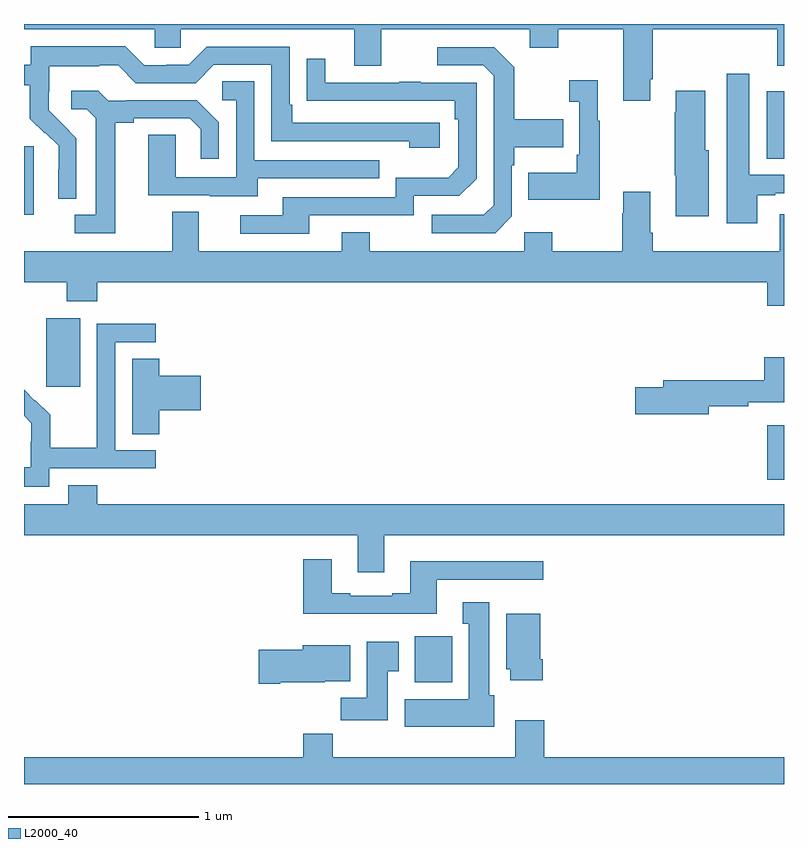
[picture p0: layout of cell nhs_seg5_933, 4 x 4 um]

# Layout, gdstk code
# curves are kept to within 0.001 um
import gdstk
lib = gdstk.Library(unit=1e-6, precision=1e-09)
def R(c, l, rs):  # rectangles x0, y0, x1, y1
    for r in rs: c.add(gdstk.rectangle(r[:2], r[2:], *l))
def P(c, l, *ps):  # polygons
    for p in ps: c.add(gdstk.Polygon(p, *l))
L2000_40 = (2000, 40)

nhs_seg5_933 = lib.new_cell('nhs_seg5_933')
R(nhs_seg5_933, L2000_40, [(173.057,841.334,173.254,841.576), (174.911,842.4,175,842.686), (171.116,842.889,171.295,843.25), (171,843.794,171.052,844.155), (174.908,844.09,175,844.444)])
P(nhs_seg5_933, L2000_40, [(174.295,844.507),(174.308,844.507),(174.308,844.772),(174.965,844.772),(174.965,844.578),(175,844.578),(175,844.799),(171,844.799),(171,844.772),(171.687,844.772),(171.687,844.674),(171.825,844.674),(171.825,844.772),(172.739,844.772),(172.739,844.578),(172.879,844.578),(172.879,844.772),(173.663,844.772),(173.663,844.673),(173.811,844.673),(173.811,844.772),(174.155,844.772),(174.155,844.395),(174.295,844.395)],
  [(171.276,844.198),(171.13,844.346),(171.13,844.443),(171.132,844.443),(171.132,844.577),(171.395,844.577),(171.395,844.581),(171.495,844.581),(171.588,844.488),(171.903,844.488),(171.999,844.584),(172.302,844.584),(172.302,844.182),(173.027,844.182),(173.027,844.148),(173.188,844.148),(173.188,844.278),(172.411,844.278),(172.411,844.375),(172.398,844.375),(172.398,844.68),(171.963,844.68),(171.867,844.584),(171.749,844.584),(171.749,844.581),(171.633,844.581),(171.533,844.681),(171.036,844.681),(171.036,844.584),(171,844.584),(171,844.476),(171.031,844.476),(171.031,844.301),(171.108,844.224),(171.111,844.227),(171.182,844.157),(171.182,844.034),(171.18,844.034),(171.18,843.88),(171.276,843.88)],
  [(173.568,843.786),(173.568,844.055),(173.581,844.055),(173.581,844.151),(173.837,844.151),(173.837,844.299),(173.581,844.299),(173.581,844.571),(173.475,844.677),(173.175,844.677),(173.175,844.581),(173.418,844.581),(173.472,844.527),(173.472,843.846),(173.421,843.795),(173.145,843.795),(173.145,843.699),(173.481,843.699)],
  [(172.501,843.792),(173.052,843.792),(173.052,843.894),(173.292,843.894),(173.382,843.984),(173.382,844.491),(173.087,844.491),(173.087,844.496),(172.975,844.496),(172.975,844.491),(172.585,844.491),(172.585,844.615),(172.489,844.615),(172.489,844.396),(173.266,844.395),(173.266,844.298),(173.286,844.298),(173.286,844.044),(173.233,843.991),(172.956,843.991),(172.956,843.888),(172.361,843.888),(172.361,843.792),(172.137,843.792),(172.137,843.696),(172.501,843.696)],
  [(174.859,843.897),(174.955,843.897),(174.955,843.909),(175,843.909),(175,844.005),(174.817,844.005),(174.817,844.537),(174.698,844.537),(174.698,843.75),(174.859,843.75)],
  [(174.031,844.291),(174.019,844.291),(174.019,844.504),(173.871,844.504),(173.871,844.391),(173.922,844.391),(173.922,844.111),(173.91,844.111),(173.91,844.015),(173.653,844.015),(173.653,843.875),(174.031,843.875)],
  [(172.231,843.987),(172.871,843.987),(172.871,844.083),(172.212,844.083),(172.212,844.499),(172.044,844.499),(172.044,844.398),(172.116,844.398),(172.116,843.993),(171.798,843.993),(171.798,844.217),(171.653,844.217),(171.653,843.897),(171.977,843.897),(171.977,843.893),(172.231,843.893)],
  [(171.481,844.28),(171.577,844.28),(171.577,844.302),(171.872,844.302),(171.929,844.245),(171.929,844.089),(172.026,844.089),(172.026,844.282),(171.91,844.398),(171.538,844.398),(171.538,844.395),(171.444,844.395),(171.392,844.447),(171.249,844.447),(171.249,844.35),(171.33,844.35),(171.377,844.303),(171.377,843.795),(171.267,843.795),(171.267,843.699),(171.481,843.699)],
  [(174.604,844.134),(174.586,844.134),(174.586,844.447),(174.431,844.447),(174.431,844.334),(174.424,844.334),(174.424,844.003),(174.431,844.003),(174.431,843.788),(174.604,843.788)],
  [(175,843.799),(174.977,843.799),(174.977,843.604),(174.308,843.604),(174.308,843.7),(174.295,843.7),(174.295,843.916),(174.155,843.916),(174.155,843.803),(174.148,843.803),(174.148,843.604),(173.781,843.604),(173.781,843.703),(173.634,843.703),(173.634,843.604),(172.821,843.604),(172.821,843.703),(172.673,843.703),(172.673,843.604),(171.919,843.604),(171.919,843.812),(171.779,843.812),(171.779,843.604),(171,843.604),(171,843.44),(171.226,843.44),(171.226,843.341),(171.386,843.341),(171.386,843.44),(174.911,843.44),(174.911,843.316),(175,843.316)],
  [(171.132,842.46),(171.694,842.46),(171.694,842.556),(171.48,842.556),(171.48,843.123),(171.694,843.123),(171.694,843.222),(171.384,843.222),(171.384,842.792),(171.382,842.792),(171.382,842.569),(171.137,842.569),(171.137,842.743),(171.06,842.82),(171.057,842.817),(171,842.875),(171,842.736),(171.038,842.698),(171.038,842.601),(171.036,842.601),(171.036,842.467),(171,842.467),(171,842.363),(171.132,842.363)],
  [(174.604,842.788),(174.812,842.788),(174.812,842.808),(175,842.808),(175,843.046),(174.896,843.046),(174.896,842.924),(174.365,842.924),(174.365,842.888),(174.216,842.888),(174.216,842.746),(174.604,842.746)],
  [(171.713,842.765),(171.931,842.765),(171.931,842.948),(171.713,842.948),(171.713,843.038),(171.569,843.038),(171.569,842.641),(171.713,842.641)],
  [(172.897,842.108),(175,842.108),(175,842.272),(171.386,842.272),(171.386,842.371),(171.233,842.371),(171.233,842.272),(171,842.272),(171,842.108),(172.757,842.108),(172.757,841.914),(172.897,841.914)],
  [(173.173,841.875),(173.734,841.875),(173.734,841.972),(173.033,841.972),(173.033,841.804),(172.937,841.804),(172.937,841.791),(172.717,841.791),(172.717,841.804),(172.621,841.804),(172.621,841.981),(172.469,841.981),(172.469,841.694),(173.173,841.694)],
  [(173.476,841.266),(173.449,841.266),(173.449,841.756),(173.309,841.756),(173.309,841.643),(173.342,841.643),(173.342,841.246),(173.003,841.246),(173.003,841.1),(173.476,841.1)],
  [(173.729,841.456),(173.716,841.456),(173.716,841.696),(173.537,841.696),(173.537,841.404),(173.558,841.404),(173.558,841.344),(173.729,841.344)],
  [(172.915,841.393),(172.972,841.393),(172.972,841.549),(172.805,841.549),(172.805,841.252),(172.666,841.252),(172.666,841.134),(172.915,841.134)],
  [(172.348,841.334),(172.584,841.334),(172.584,841.34),(172.717,841.34),(172.717,841.528),(172.466,841.528),(172.466,841.505),(172.236,841.505),(172.236,841.327),(172.348,841.327)],
  [(175,840.94),(173.738,840.94),(173.738,841.135),(173.585,841.135),(173.585,840.94),(172.625,840.94),(172.625,841.064),(172.469,841.064),(172.469,840.94),(171,840.94),(171,840.799),(175,840.799)])

lib.write_gds('nhs_seg5_933.gds')
